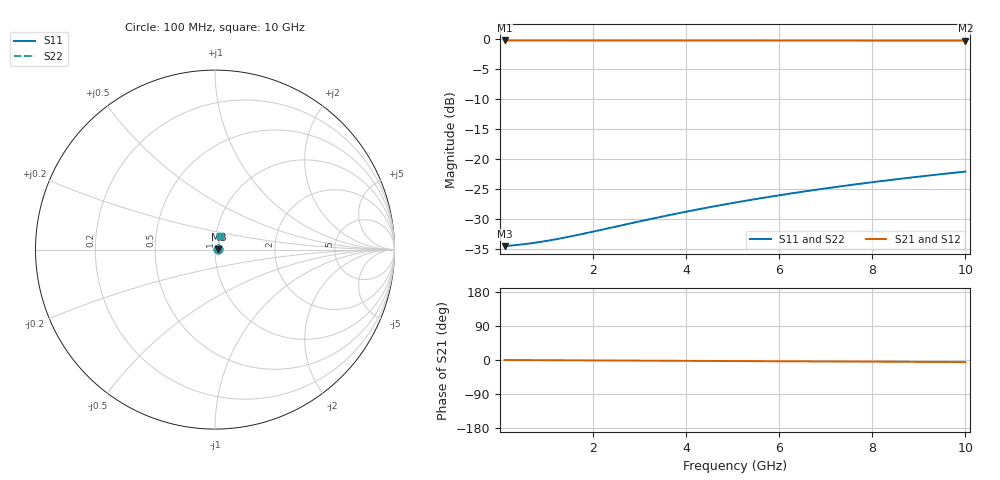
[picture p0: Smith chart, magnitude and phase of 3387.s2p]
# Hz S RI R 50.00
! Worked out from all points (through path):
!   100 points, 100 MHz to 10 GHz, reference 50 ohm
!   highest |S21| = -0.16 dB at 100 MHz (marker M1); lowest = -0.2 dB at 10 GHz (marker M2)
!   lowest |S11| = -34.5 dB at 100 MHz (marker M3), VSWR 1.04, Z = 51.9 + j0.0776 ohm
!   |S11| at or under -10 dB: start of sweep to end of sweep
!   |S22| runs from -34.5 to -22.1 dB; largest |S21 - S12| = 0
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1e8  0.0188 0.000747  0.9812 -0.000948  0.9812 -0.000948  0.0188 0.000747
5e8  0.0191 0.00373  0.9809 -0.00474  0.9809 -0.00474  0.0191 0.00373
7e8  0.0192 0.00522  0.9808 -0.00663  0.9808 -0.00663  0.0192 0.00522
9e8  0.0193 0.00671  0.9807 -0.00853  0.9807 -0.00853  0.0193 0.00671
1.1e9  0.0194 0.0082  0.9806 -0.0104  0.9806 -0.0104  0.0194 0.0082
1.3e9  0.0195 0.00969  0.9805 -0.0123  0.9805 -0.0123  0.0195 0.00969
1.5e9  0.0196 0.0112  0.9804 -0.0142  0.9804 -0.0142  0.0196 0.0112
1.8e9  0.0198 0.0134  0.9802 -0.017  0.9802 -0.017  0.0198 0.0134
2.9e9  0.0203 0.0216  0.9796 -0.0274  0.9796 -0.0274  0.0203 0.0216
3.4e9  0.0206 0.0253  0.9793 -0.0322  0.9793 -0.0322  0.0206 0.0253
3.9e9  0.021 0.029  0.979 -0.0369  0.979 -0.0369  0.021 0.029
4.3e9  0.0212 0.032  0.9787 -0.0407  0.9787 -0.0407  0.0212 0.032
4.7e9  0.0215 0.0349  0.9784 -0.0444  0.9784 -0.0444  0.0215 0.0349
5.1e9  0.0219 0.0379  0.9781 -0.0482  0.9781 -0.0482  0.0219 0.0379
5.5e9  0.0222 0.0409  0.9777 -0.052  0.9777 -0.052  0.0222 0.0409
5.9e9  0.0226 0.0438  0.9774 -0.0557  0.9774 -0.0557  0.0226 0.0438
6.3e9  0.0229 0.0468  0.977 -0.0595  0.977 -0.0595  0.0229 0.0468
6.7e9  0.0233 0.0497  0.9766 -0.0632  0.9766 -0.0632  0.0233 0.0497
7.5e9  0.0242 0.0556  0.9757 -0.0707  0.9757 -0.0707  0.0242 0.0556
8.4e9  0.0253 0.0622  0.9745 -0.0792  0.9745 -0.0792  0.0253 0.0622
9.2e9  0.0264 0.068  0.9735 -0.0866  0.9735 -0.0866  0.0264 0.068
1e10  0.0275 0.0739  0.9723 -0.0941  0.9723 -0.0941  0.0275 0.0739
